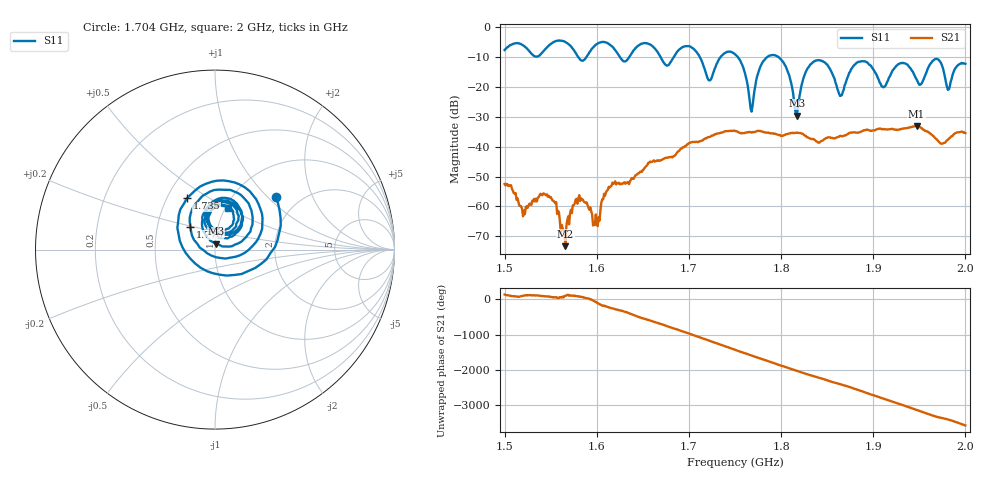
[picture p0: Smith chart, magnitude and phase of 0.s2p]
! NanoVNA-App by SYSJOINT et al v1.1.209 (+OD18)
! Date: 2026-01-21 14:45:16
! Start: 1,5GHz Stop: 2GHz Points: 501
! S-Parameter data: F S11 S21 S12 S22
# Hz S RI R 50
!  Frequency  S11_Real  S11_Imag  S21_Real  S21_Imag  S12_Real  S12_Imag  S22_Real  S22_Imag
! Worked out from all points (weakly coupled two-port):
!   501 points, 1.5 GHz to 2 GHz, reference 50 ohm
!   highest |S21| = -33.10 dB at 1.947 GHz (marker M1); lowest = -73.3 dB at 1.566 GHz (marker M2)
!   lowest |S11| = -29.7 dB at 1.817 GHz (marker M3), VSWR 1.07, Z = 50.5 + j3.27 ohm
!   |S11| at or under -10 dB: 1.712 GHz to 1.734 GHz (22.64 MHz wide, 1.31 % of centre); 1.753 GHz to 1.785 GHz (31.89 MHz wide, 1.8 % of centre); 1.797 GHz to end of sweep (the widest 3 of 6)
!   S12 and S22 are empty: the file has one direction only
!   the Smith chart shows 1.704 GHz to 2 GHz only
!   S11 on the Smith chart (normalised r, x): 1.704 GHz: 1.52, +1.12; 1.735 GHz: 0.63, +0.40; 1.776 GHz: 0.74, +0.20; 2 GHz: 1.02, +0.51
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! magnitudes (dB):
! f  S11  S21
! 1.5 GHz  -7.7  -52.5
! 1.52 GHz  -6.1  -63.3
! 1.548 GHz  -6.2  -56.5
! 1.566 GHz  -5.0  -73.3
! 1.584 GHz  -11.2  -57.5
! 1.599 GHz  -5.9  -62.7
! 1.615 GHz  -6.0  -53.3
! 1.667 GHz  -8.9  -44.5
! 1.704 GHz  -7.0  -38.4
! 1.722 GHz  -17.8  -36.8
! 1.735 GHz  -9.7  -35.4
! 1.75 GHz  -9.1  -34.7
! 1.768 GHz  -28.3  -35.3
! 1.776 GHz  -14.5  -34.7
! 1.799 GHz  -10.5  -36.1
! 1.817 GHz  -29.7  -35.4
! 1.834 GHz  -11.9  -37.4
! 1.864 GHz  -23.0  -36.4
! 1.885 GHz  -11.5  -35.2
! 1.917 GHz  -16.9  -34.2
! 1.947 GHz  -17.4  -33.1
! 2 GHz  -12.3  -35.5
